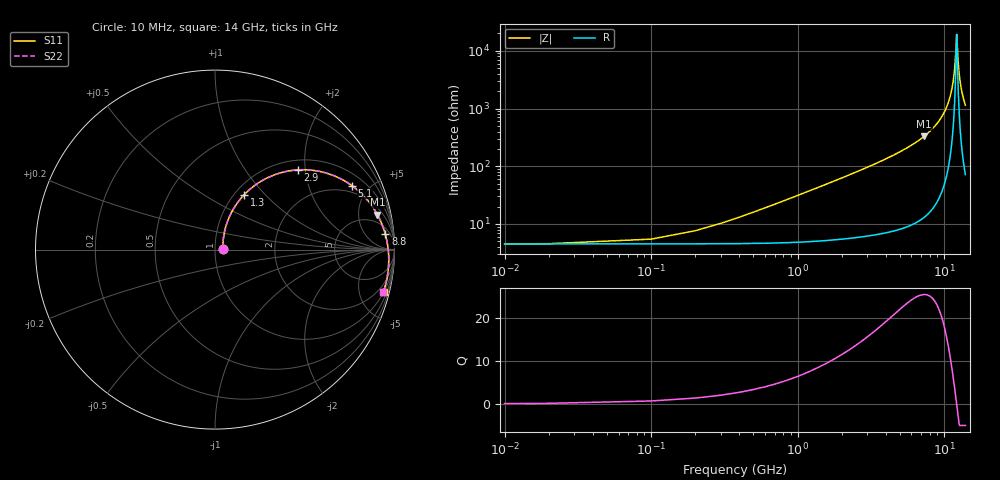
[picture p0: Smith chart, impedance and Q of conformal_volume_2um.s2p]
! Created with skrf 1.12.0 (http://scikit-rf.org).
# GHz S DB R 50.0
!freq dBS11 angS11 dBS21 angS21 dBS12 angS12 dBS22 angS22
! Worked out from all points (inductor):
!   142 points, 10 MHz to 14 GHz, reference 50 ohm
!   read as one part in series: L = 4.87 nH near 500 MHz
!   highest Q = 25.4 at 7.3 GHz (marker M1), where L = 7.15 nH
!   self-resonance near 12.2 GHz
!   S11 on the Smith chart (normalised r, x): 10 MHz: 1.09, +0.01; 1.3 GHz: 1.11, +0.77; 2.9 GHz: 1.21, +1.83; 5.1 GHz: 1.59, +3.89; 8.8 GHz: 9, +17; 14 GHz: 1.08, -7.99
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0.01  -27.29 3.5  -0.38 -0.2  -0.38 -0.2  -27.29 3.5
0.4  -18.59 62.7  -0.47 -7.1  -0.47 -7.1  -18.59 62.7
0.6  -15.39 66.1  -0.55 -10.5  -0.55 -10.5  -15.39 66.1
1.3  -9.19 62.0  -1.06 -21.8  -1.06 -21.8  -9.20 62.0
2.4  -4.94 49.2  -2.31 -37.0  -2.31 -37.0  -4.94 49.2
2.9  -3.85 43.8  -3.01 -42.9  -3.01 -42.9  -3.86 43.8
4.7  -1.75 27.9  -5.89 -59.6  -5.89 -59.6  -1.75 27.9
5.1  -1.50 25.1  -6.59 -62.6  -6.59 -62.6  -1.50 25.1
7.1  -0.72 13.1  -10.46 -74.7  -10.46 -74.7  -0.72 13.1
7.3  -0.67 12.1  -10.89 -75.7  -10.89 -75.7  -0.67 12.1
8.8  -0.42 5.1  -14.66 -82.5  -14.66 -82.5  -0.42 5.1
9.4  -0.36 2.6  -16.54 -84.7  -16.54 -84.7  -0.36 2.6
10.9  -0.27 -3.2  -23.61 -88.4  -23.61 -88.4  -0.27 -3.2
11.4  -0.25 -5.1  -27.88 -87.5  -27.88 -87.5  -0.26 -5.1
11.7  -0.25 -6.2  -31.88 -84.4  -31.88 -84.4  -0.25 -6.2
11.9  -0.25 -6.9  -35.98 -78.1  -35.98 -78.1  -0.25 -6.9
12.2  -0.25 -7.9  -45.96 -12.3  -45.96 -12.3  -0.25 -7.9
12.3  -0.25 -8.3  -43.49 33.4  -43.49 33.4  -0.25 -8.3
12.5  -0.25 -9.0  -36.54 61.6  -36.54 61.6  -0.25 -9.0
12.8  -0.25 -10.0  -30.85 70.2  -30.85 70.2  -0.25 -10.0
13.3  -0.26 -11.7  -25.72 72.9  -25.72 72.9  -0.26 -11.7
14  -0.29 -14.0  -21.57 72.6  -21.57 72.6  -0.29 -14.0
